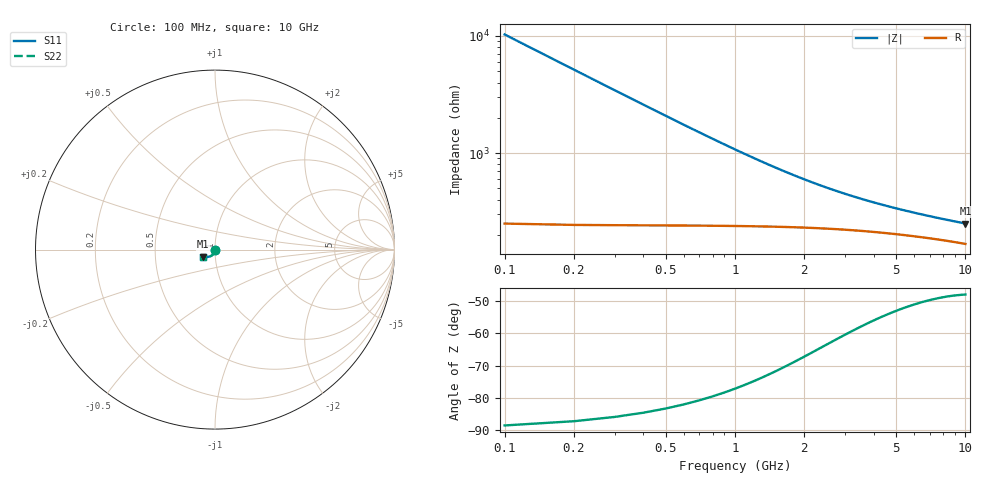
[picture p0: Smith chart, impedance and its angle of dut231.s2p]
! Touchstone file exported from HFSS 2024.1.0
!  File:  C:/UserFiles/LocalFiles/RDL_TSV_Batchsim/temp_TSV1_231_1778767327.aedt
!  Generated:  10:06:48 PM May 14, 2026
!  Design:  TSV1
!  Project:  temp_TSV1_231_1778767327
!  Setup:  Setup1
!  Solution:  Sweep
! Variables:
!  dtsv = 15.98um
!  hbump = 3um
!  htsv = 79.47um
!  lrdl = 252.1521522um
!  p = 40
!  p1 = 45.64um
!  t = 500um
!  trdl = 3um
!  wrdl = 24.89489489um
# GHz S MA R 50.000000
! Terminal data exported
! Port[1] = TSV22_T1
! Port[2] = TSV22_T2
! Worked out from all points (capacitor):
!   100 points, 100 MHz to 10 GHz, reference 50 ohm
!   read as one part in shunt: C = 154 fF near 100 MHz
!   lowest |Z| = 250 ohm at 10 GHz (marker M1)
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0.1  0.002114 -89.5  0.9999 -0.2  0.9999 -0.2  0.002114 -89.5
! Gamma 0 0 0 0
! Port Impedance 50 0 50 0
0.2  0.00422 -92.2  0.9997 -0.3  0.9997 -0.3  0.00422 -92.2
0.3  0.006315 -94.1  0.9994 -0.5  0.9994 -0.5  0.006315 -94.1
0.4  0.008393 -95.9  0.9989 -0.6  0.9989 -0.6  0.008393 -95.9
0.5  0.01045 -97.6  0.9984 -0.8  0.9984 -0.8  0.01045 -97.6
0.6  0.01248 -99.2  0.9978 -0.9  0.9978 -0.9  0.01248 -99.2
0.7  0.01447 -100.8  0.9971 -1.1  0.9971 -1.1  0.01447 -100.8
0.8  0.01643 -102.4  0.9962 -1.2  0.9962 -1.2  0.01643 -102.4
0.9  0.01834 -103.9  0.9954 -1.3  0.9954 -1.3  0.01834 -103.9
1.1  0.02204 -106.8  0.9934 -1.6  0.9934 -1.6  0.02204 -106.8
1.4  0.02721 -110.9  0.9901 -1.9  0.9901 -1.9  0.02721 -110.9
1.6  0.03039 -113.4  0.9878 -2.1  0.9878 -2.1  0.03039 -113.4
1.8  0.03336 -115.7  0.9854 -2.3  0.9854 -2.3  0.03336 -115.7
2.1  0.03744 -119.0  0.9819 -2.6  0.9819 -2.6  0.03744 -119.0
2.5  0.0422 -122.8  0.9774 -2.9  0.9774 -2.9  0.0422 -122.8
2.9  0.04631 -126.1  0.9731 -3.1  0.9731 -3.1  0.04631 -126.1
3.4  0.05067 -129.7  0.9683 -3.4  0.9683 -3.4  0.05067 -129.7
4.2  0.05632 -134.2  0.9615 -3.7  0.9615 -3.7  0.05632 -134.2
5.1  0.06131 -138.1  0.9552 -4.1  0.9552 -4.1  0.06131 -138.1
6.7  0.06793 -143.0  0.9466 -4.6  0.9466 -4.6  0.06793 -143.0
8.4  0.07301 -146.7  0.94 -5.1  0.94 -5.1  0.07301 -146.7
10  0.07657 -149.4  0.9354 -5.6  0.9354 -5.6  0.07657 -149.4
